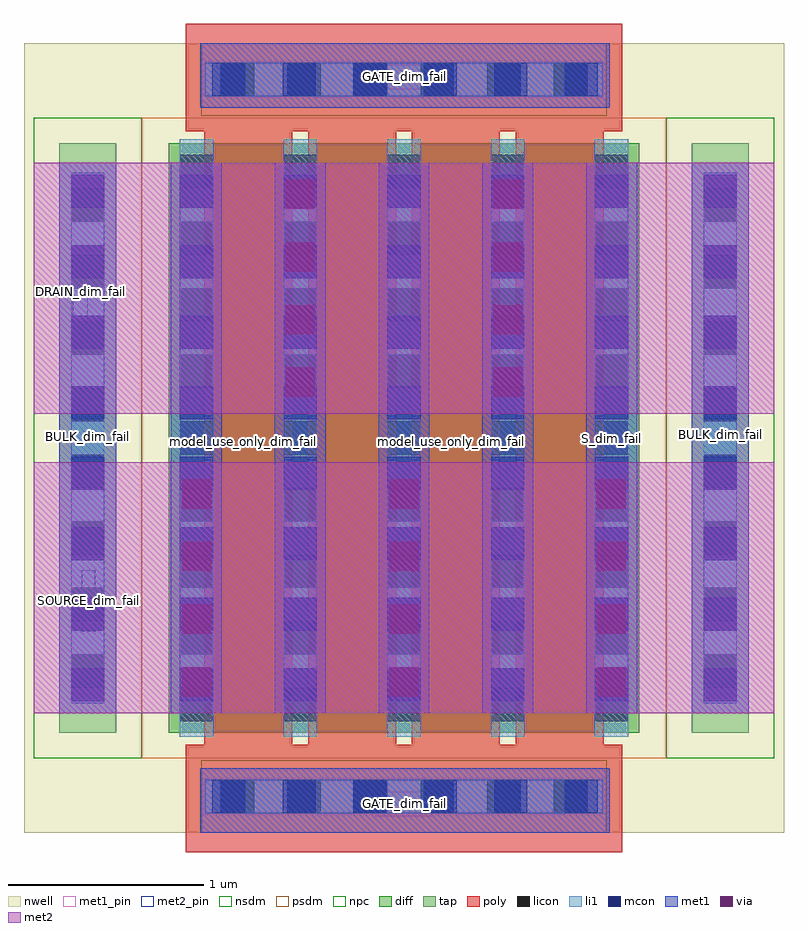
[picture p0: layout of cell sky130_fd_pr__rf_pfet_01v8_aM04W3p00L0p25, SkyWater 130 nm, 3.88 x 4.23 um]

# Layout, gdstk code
import gdstk
lib = gdstk.Library(unit=1e-6, precision=1e-09)
def R(c, l, rs):  # rectangles x0, y0, x1, y1
    for r in rs: c.add(gdstk.rectangle(r[:2], r[2:], *l))
def A(c, l, x, y, w, h, nx, ny, dx, dy):  # array of equal rectangles
    R(c, l, [(x+i*dx, y+j*dy, x+i*dx+w, y+j*dy+h) for i in range(nx) for j in range(ny)])
def P(c, l, *ps):  # polygons
    for p in ps: c.add(gdstk.Polygon(p, *l))
nwell = (64, 20)
diff = (65, 20)
tap = (65, 44)
poly = (66, 20)
licon = (66, 44)
li1 = (67, 20)
mcon = (67, 44)
met1_pin = (68, 16)
met1 = (68, 20)
via = (68, 44)
met2_pin = (69, 16)
met2 = (69, 20)
nsdm = (93, 44)
psdm = (94, 20)
npc = (95, 20)

sky130_fd_pr__rf_pfet_01 = lib.new_cell('sky130_fd_pr__rf_pfet_01v8_aM04W3p00L0p25')
R(sky130_fd_pr__rf_pfet_01, nwell, [(0,0,3.88,4.03)])
R(sky130_fd_pr__rf_pfet_01, diff, [(0.74,0.51,3.14,3.52)])
R(sky130_fd_pr__rf_pfet_01, tap, [(0.18,0.51,0.47,3.52), (3.41,0.51,3.7,3.52)])
P(sky130_fd_pr__rf_pfet_01, poly, [(0.825,-0.1),(0.825,0.45),(0.92,0.45),(0.92,3.58),(1.37,3.58),(1.37,0.45),(1.45,0.45),(1.45,3.58),(1.9,3.58),(1.9,0.45),(1.98,0.45),(1.98,3.58),(2.43,3.58),(2.43,0.45),(2.51,0.45),(2.51,3.58),(0.825,3.58),(0.825,4.13),(3.055,4.13),(3.055,3.58),(2.96,3.58),(2.96,0.45),(3.055,0.45),(3.055,-0.1)])
A(sky130_fd_pr__rf_pfet_01, licon, 1.005, 0.1, 0.17, 0.17, 6, 2, 0.34, 3.66)
A(sky130_fd_pr__rf_pfet_01, licon, 0.795, 0.57, 0.17, 0.17, 5, 9, 0.53, 0.34)
A(sky130_fd_pr__rf_pfet_01, licon, 0.24, 0.74, 0.17, 0.17, 1, 8, 0, 0.34)
A(sky130_fd_pr__rf_pfet_01, licon, 3.47, 0.74, 0.17, 0.17, 1, 8, 0, 0.34)
A(sky130_fd_pr__rf_pfet_01, li1, 0.795, 0.49, 0.17, 3.05, 5, 1, 0.53, 0)
A(sky130_fd_pr__rf_pfet_01, li1, 0.795, 0.67, 0.17, 2.69, 5, 1, 0.53, 0)
R(sky130_fd_pr__rf_pfet_01, li1, [(0.925,0.1,2.955,0.27), (0.96,0.1,2.93,0.27), (0.24,0.66,0.41,3.37), (3.47,0.66,3.64,3.37), (0.24,0.67,0.41,3.36), (3.47,0.67,3.64,3.36), (0.925,3.76,2.955,3.93), (0.96,3.76,2.93,3.93)])
A(sky130_fd_pr__rf_pfet_01, mcon, 0.96, 0.1, 0.17, 0.17, 6, 2, 0.36, 3.66)
A(sky130_fd_pr__rf_pfet_01, mcon, 0.24, 0.67, 0.17, 0.17, 1, 8, 0, 0.36)
A(sky130_fd_pr__rf_pfet_01, mcon, 0.795, 0.67, 0.17, 0.17, 5, 8, 0.53, 0.36)
A(sky130_fd_pr__rf_pfet_01, mcon, 3.47, 0.67, 0.17, 0.17, 1, 8, 0, 0.36)
R(sky130_fd_pr__rf_pfet_01, met1_pin, [(1.795,0.085,2.085,0.21), (0.24,1.995,0.41,2.05), (3.47,2.005,3.64,2.06), (1.795,3.795,2.085,3.92)])
A(sky130_fd_pr__rf_pfet_01, met1, 0.75, 0.61, 0.26, 1.28, 3, 1, 1.06, 0)
A(sky130_fd_pr__rf_pfet_01, met1, 0.75, 0.61, 0.26, 2.81, 5, 1, 0.53, 0)
R(sky130_fd_pr__rf_pfet_01, met1, [(0.9,0,2.99,0.33), (0.18,0.61,0.47,3.42), (3.41,0.61,3.7,3.42), (1.28,2.14,1.54,3.42), (2.34,2.14,2.6,3.42), (0.9,3.7,2.99,4.03)])
A(sky130_fd_pr__rf_pfet_01, via, 0.805, 0.695, 0.15, 0.15, 3, 4, 1.06, 0.32)
A(sky130_fd_pr__rf_pfet_01, via, 1.335, 2.225, 0.15, 0.15, 1, 4, 0, 0.32)
A(sky130_fd_pr__rf_pfet_01, via, 2.395, 2.225, 0.15, 0.15, 1, 4, 0, 0.32)
R(sky130_fd_pr__rf_pfet_01, met2_pin, [(0.295,1.025,0.365,1.34), (0.25,2.6,0.325,2.93)])
A(sky130_fd_pr__rf_pfet_01, met2, 0.75, 0.61, 0.26, 1.28, 3, 1, 1.06, 0)
R(sky130_fd_pr__rf_pfet_01, met2, [(0.05,0.61,3.83,1.89), (0.05,2.14,3.83,3.42), (1.28,2.14,1.54,3.42), (2.34,2.14,2.6,3.42)])
R(sky130_fd_pr__rf_pfet_01, nsdm, [(0.05,0.38,0.6,3.65), (3.28,0.38,3.83,3.65)])
R(sky130_fd_pr__rf_pfet_01, psdm, [(0.6,0.38,3.28,3.65)])
R(sky130_fd_pr__rf_pfet_01, npc, [(0.905,0,2.975,0.37), (0.905,3.66,2.975,4.03)])
sky130_fd_pr__rf_pfet_01.add(gdstk.Label('model_use_only_dim_fail', (1.12,1.995), layer=66, texttype=83))
sky130_fd_pr__rf_pfet_01.add(gdstk.Label('model_use_only_dim_fail', (1.645,1.995), layer=66, texttype=83))
sky130_fd_pr__rf_pfet_01.add(gdstk.Label('model_use_only_dim_fail', (2.185,1.995), layer=66, texttype=83))
sky130_fd_pr__rf_pfet_01.add(gdstk.Label('model_use_only_dim_fail', (2.705,1.995), layer=66, texttype=83))
sky130_fd_pr__rf_pfet_01.add(gdstk.Label('S_dim_fail', (0.88,2.015), layer=83, texttype=44))
sky130_fd_pr__rf_pfet_01.add(gdstk.Label('S_dim_fail', (0.88,2.015), layer=83, texttype=44))
sky130_fd_pr__rf_pfet_01.add(gdstk.Label('S_dim_fail', (1.41,2.015), layer=83, texttype=44))
sky130_fd_pr__rf_pfet_01.add(gdstk.Label('D_dim_fail', (1.41,2.015), layer=83, texttype=44))
sky130_fd_pr__rf_pfet_01.add(gdstk.Label('S_dim_fail', (1.94,2.015), layer=83, texttype=44))
sky130_fd_pr__rf_pfet_01.add(gdstk.Label('S_dim_fail', (1.94,2.015), layer=83, texttype=44))
sky130_fd_pr__rf_pfet_01.add(gdstk.Label('S_dim_fail', (2.47,2.015), layer=83, texttype=44))
sky130_fd_pr__rf_pfet_01.add(gdstk.Label('D_dim_fail', (2.47,2.015), layer=83, texttype=44))
sky130_fd_pr__rf_pfet_01.add(gdstk.Label('S_dim_fail', (3,2.015), layer=83, texttype=44))
sky130_fd_pr__rf_pfet_01.add(gdstk.Label('BULK_dim_fail', (3.555,2.035), layer=68, texttype=5))
sky130_fd_pr__rf_pfet_01.add(gdstk.Label('GATE_dim_fail', (1.94,3.86), layer=68, texttype=5))
sky130_fd_pr__rf_pfet_01.add(gdstk.Label('GATE_dim_fail', (1.94,0.15), layer=68, texttype=5))
sky130_fd_pr__rf_pfet_01.add(gdstk.Label('BULK_dim_fail', (0.325,2.025), layer=68, texttype=5))
sky130_fd_pr__rf_pfet_01.add(gdstk.Label('DRAIN_dim_fail', (0.29,2.765), layer=69, texttype=5))
sky130_fd_pr__rf_pfet_01.add(gdstk.Label('SOURCE_dim_fail', (0.33,1.185), layer=69, texttype=5))

lib.write_gds('sky130_fd_pr__rf_pfet_01v8_aM04W3p00L0p25.gds')
